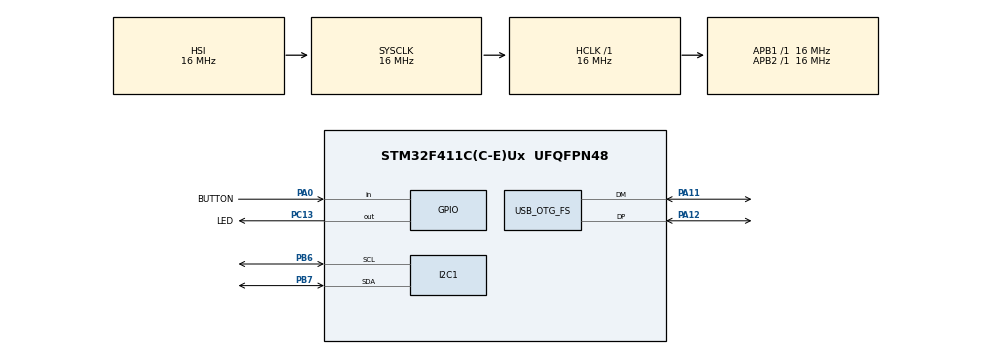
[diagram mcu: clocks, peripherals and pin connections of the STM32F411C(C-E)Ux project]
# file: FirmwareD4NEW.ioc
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board=custom
Mcu.Family=STM32F4
Mcu.Name=STM32F411C(C-E)Ux
Mcu.Package=UFQFPN48
NVIC.OTG_FS_IRQn=true\:0\:0\:false\:false\:true\:false\:true\:true
NVIC.PriorityGroup=NVIC_PRIORITYGROUP_4
PA0-WKUP.GPIO_Label=BUTTON
PA0-WKUP.GPIO_PuPd=GPIO_PULLUP
PA0-WKUP.Signal=GPIO_Input
PA11.Mode=Device_Only
PA11.Signal=USB_OTG_FS_DM
PA12.Mode=Device_Only
PA12.Signal=USB_OTG_FS_DP
PB6.Mode=I2C
PB6.Signal=I2C1_SCL
PB7.Mode=I2C
PB7.Signal=I2C1_SDA
PC13-ANTI_TAMP.GPIO_Label=LED
PC13-ANTI_TAMP.PinState=GPIO_PIN_SET
PC13-ANTI_TAMP.Signal=GPIO_Output
PC14-OSC32_IN.Mode=LSE-External-Oscillator
PC14-OSC32_IN.Signal=RCC_OSC32_IN
PC15-OSC32_OUT.Mode=LSE-External-Oscillator
PC15-OSC32_OUT.Signal=RCC_OSC32_OUT
PH0\ -\ OSC_IN.Mode=HSE-External-Oscillator
PH0\ -\ OSC_IN.Signal=RCC_OSC_IN
PH1\ -\ OSC_OUT.Mode=HSE-External-Oscillator
PH1\ -\ OSC_OUT.Signal=RCC_OSC_OUT
ProjectManager.HeapSize=0x200
ProjectManager.StackSize=0x400
ProjectManager.TargetToolchain=STM32CubeIDE
RCC.48MHZClocksFreq_Value=48000000
RCC.AHBFreq_Value=16000000
RCC.APB1Freq_Value=16000000
RCC.APB2Freq_Value=16000000
RCC.CortexFreq_Value=16000000
RCC.HSE_VALUE=25000000
RCC.HSI_VALUE=16000000
RCC.PLLM=15
RCC.PLLN=144
RCC.PLLQ=5
RCC.SYSCLKFreq_VALUE=16000000
RCC.VCOOutputFreq_Value=240000000
USB_DEVICE.CLASS_NAME_FS=CDC
USB_DEVICE.VirtualMode=Cdc
USB_DEVICE.VirtualModeFS=Cdc_FS
USB_OTG_FS.VirtualMode=Device_Only
VP_USB_DEVICE_VS_USB_DEVICE_CDC_FS.Mode=CDC_FS

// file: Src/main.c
/* USER CODE BEGIN Header */
/**
  ******************************************************************************
  * @file           : main.c
  * @brief          : Main program body
  ******************************************************************************
  * @attention
  *
  * Copyright (c) 2026 STMicroelectronics.
  * All rights reserved.
  *
  * This software is licensed under terms that can be found in the LICENSE file
  * in the root directory of this software component.
  * If no LICENSE file comes with this software, it is provided AS-IS.
  *
  ******************************************************************************
  */
/* USER CODE END Header */
#include "main.h"
#include "usb_device.h"

/* USER CODE BEGIN Includes */
#include<stdio.h>
#include "usbd_cdc_if.h"
#include "drivers/adxl343.h"
/* USER CODE END Includes */

/* USER CODE BEGIN PTD */
  #include "logic/tasks.h"
  typedef struct{
    void(*run)(void); //which function to call
    uint32_t interval_ms;
    uint32_t last_ms;
  } task_s;

/* USER CODE END PTD */

I2C_HandleTypeDef hi2c1;

/* USER CODE BEGIN PV */ //private variables
task_s tasks[] = //task list
{
  {sample_task, 10, 0},
  {check_task, 20, 0},
  {print_task, 100, 0},

};

/* USER CODE END PV */

void SystemClock_Config(void);
static void MX_GPIO_Init(void);
static void MX_I2C1_Init(void);
/* USER CODE BEGIN PFP */ //private function prototypes

void run_scheculer(void);

/* USER CODE END PFP */

/* USER CODE BEGIN 0 */
//runs my tasks
void run_scheduler(void)
{
    uint32_t now = HAL_GetTick();

    for(uint32_t i = 0; i < 3; i++)
    {
      if (now - tasks[i].last_ms >= tasks[i].interval_ms)
      {
        tasks[i].last_ms = now;
        tasks[i].run();
      }
    }

}
/* USER CODE BEGIN 0 */
int _write(int file, char *ptr, int len)
{
    while (CDC_Transmit_FS((uint8_t *)ptr, len) == USBD_BUSY)
    {
        HAL_Delay(1);
    }
    return len;
}

/* USER CODE END 0 */
/* USER CODE END 0 */

int main(void)
{

  /* MCU Configuration--------------------------------------------------------*/

  /* Reset of all peripherals, Initializes the Flash interface and the Systick. */
  HAL_Init();

  /* Configure the system clock */
  SystemClock_Config();

  /* Initialize all configured peripherals */
  MX_GPIO_Init();
  MX_USB_DEVICE_Init();
  MX_I2C1_Init();
  /* USER CODE BEGIN 2 */
  /* USER CODE BEGIN 2 */

  if(adxl343_init(&hi2c1) == HAL_OK)
  {
    adxl343_disable(&hi2c1);
    printf("ADXL343 ready, press key to start\r\n");
  }
  else
  {
    printf("ADXL343 init FAIL\r\n");
  }

  /* USER CODE END 2 */
  /* USER CODE END 2 */

  /* Infinite loop */
  while (1)
  {
    /* USER CODE BEGIN 3 */
    run_scheduler();
  }
    //LED light up stuff
    /*
    if(HAL_GPIO_ReadPin(BUTTON_GPIO_Port, BUTTON_Pin) == GPIO_PIN_SET)
    {
      HAL_GPIO_WritePin(LED_GPIO_Port, LED_Pin, GPIO_PIN_SET);
    }
    else
    {
      HAL_GPIO_WritePin(LED_GPIO_Port, LED_Pin, GPIO_PIN_RESET);
    }
  }
  */
  /* USER CODE END 3 */
}

void SystemClock_Config(void)
{
  RCC_OscInitTypeDef RCC_OscInitStruct = {0};
  RCC_ClkInitTypeDef RCC_ClkInitStruct = {0};

  /** Configure the main internal regulator output voltage
  */
  __HAL_RCC_PWR_CLK_ENABLE();
  __HAL_PWR_VOLTAGESCALING_CONFIG(PWR_REGULATOR_VOLTAGE_SCALE1);

  /** Initializes the RCC Oscillators according to the specified parameters
  * in the RCC_OscInitTypeDef structure.
  */
  RCC_OscInitStruct.OscillatorType = RCC_OSCILLATORTYPE_HSI|RCC_OSCILLATORTYPE_HSE;
  RCC_OscInitStruct.HSEState = RCC_HSE_ON;
  RCC_OscInitStruct.HSIState = RCC_HSI_ON;
  RCC_OscInitStruct.HSICalibrationValue = RCC_HSICALIBRATION_DEFAULT;
  RCC_OscInitStruct.PLL.PLLState = RCC_PLL_ON;
  RCC_OscInitStruct.PLL.PLLSource = RCC_PLLSOURCE_HSE;
  RCC_OscInitStruct.PLL.PLLM = 15;
  RCC_OscInitStruct.PLL.PLLN = 144;
  RCC_OscInitStruct.PLL.PLLP = RCC_PLLP_DIV2;
  RCC_OscInitStruct.PLL.PLLQ = 5;
  if (HAL_RCC_OscConfig(&RCC_OscInitStruct) != HAL_OK)
  {
    Error_Handler();
  }

  /** Initializes the CPU, AHB and APB buses clocks
  */
  RCC_ClkInitStruct.ClockType = RCC_CLOCKTYPE_HCLK|RCC_CLOCKTYPE_SYSCLK
                              |RCC_CLOCKTYPE_PCLK1|RCC_CLOCKTYPE_PCLK2;
  RCC_ClkInitStruct.SYSCLKSource = RCC_SYSCLKSOURCE_HSI;
  RCC_ClkInitStruct.AHBCLKDivider = RCC_SYSCLK_DIV1;
  RCC_ClkInitStruct.APB1CLKDivider = RCC_HCLK_DIV1;
  RCC_ClkInitStruct.APB2CLKDivider = RCC_HCLK_DIV1;

  if (HAL_RCC_ClockConfig(&RCC_ClkInitStruct, FLASH_LATENCY_0) != HAL_OK)
  {
    Error_Handler();
  }
}

static void MX_I2C1_Init(void)
{

  hi2c1.Instance = I2C1;
  hi2c1.Init.ClockSpeed = 100000;
  hi2c1.Init.DutyCycle = I2C_DUTYCYCLE_2;
  hi2c1.Init.OwnAddress1 = 0;
  hi2c1.Init.AddressingMode = I2C_ADDRESSINGMODE_7BIT;
  hi2c1.Init.DualAddressMode = I2C_DUALADDRESS_DISABLE;
  hi2c1.Init.OwnAddress2 = 0;
  hi2c1.Init.GeneralCallMode = I2C_GENERALCALL_DISABLE;
  hi2c1.Init.NoStretchMode = I2C_NOSTRETCH_DISABLE;
  if (HAL_I2C_Init(&hi2c1) != HAL_OK)
  {
    Error_Handler();
  }

}

static void MX_GPIO_Init(void)
{
  GPIO_InitTypeDef GPIO_InitStruct = {0};

  /* GPIO Ports Clock Enable */
  __HAL_RCC_GPIOC_CLK_ENABLE();
  __HAL_RCC_GPIOH_CLK_ENABLE();
  __HAL_RCC_GPIOA_CLK_ENABLE();
  __HAL_RCC_GPIOB_CLK_ENABLE();

  /*Configure GPIO pin Output Level */
  HAL_GPIO_WritePin(LED_GPIO_Port, LED_Pin, GPIO_PIN_SET);

  /*Configure GPIO pin : LED_Pin */
  GPIO_InitStruct.Pin = LED_Pin;
  GPIO_InitStruct.Mode = GPIO_MODE_OUTPUT_PP;
  GPIO_InitStruct.Pull = GPIO_NOPULL;
  GPIO_InitStruct.Speed = GPIO_SPEED_FREQ_LOW;
  HAL_GPIO_Init(LED_GPIO_Port, &GPIO_InitStruct);

  /*Configure GPIO pin : BUTTON_Pin */
  GPIO_InitStruct.Pin = BUTTON_Pin;
  GPIO_InitStruct.Mode = GPIO_MODE_INPUT;
  GPIO_InitStruct.Pull = GPIO_PULLUP;
  HAL_GPIO_Init(BUTTON_GPIO_Port, &GPIO_InitStruct);

}

void Error_Handler(void)
{
  __disable_irq();
  while (1)
  {
  }
}
